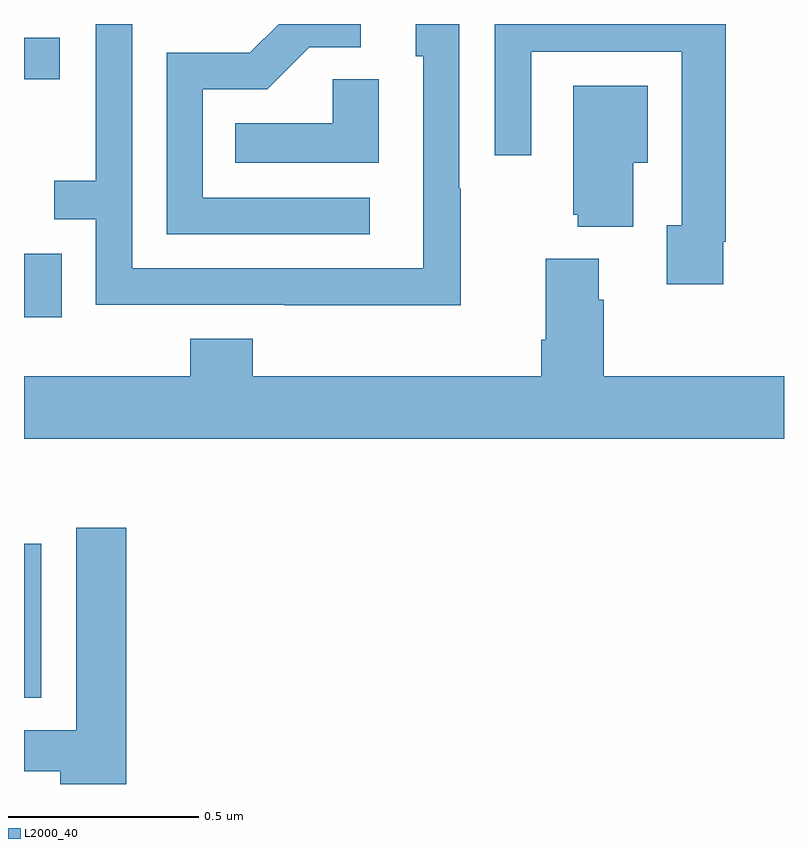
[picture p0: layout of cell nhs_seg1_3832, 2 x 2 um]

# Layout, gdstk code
import gdstk
lib = gdstk.Library(unit=1e-6, precision=1e-09)
def R(c, l, rs):  # rectangles x0, y0, x1, y1
    for r in rs: c.add(gdstk.rectangle(r[:2], r[2:], *l))
def P(c, l, *ps):  # polygons
    for p in ps: c.add(gdstk.Polygon(p, *l))
L2000_40 = (2000, 40)

nhs_seg1_3832 = lib.new_cell('nhs_seg1_3832')
R(nhs_seg1_3832, L2000_40, [(159,508.426,159.046,508.831), (159,509.427,159.099,509.595), (159,510.053,159.094,510.163)])
P(nhs_seg1_3832, L2000_40, [(159.91,509.742),(159.471,509.742),(159.471,510.027),(159.64,510.027),(159.751,510.138),(159.886,510.138),(159.886,510.199),(159.67,510.199),(159.594,510.123),(159.375,510.123),(159.375,509.646),(159.91,509.646)],
  [(160.149,509.765),(160.146,509.765),(160.146,510.199),(160.031,510.199),(160.031,510.114),(160.05,510.114),(160.05,509.556),(159.285,509.556),(159.285,510.199),(159.189,510.199),(159.189,509.786),(159.079,509.786),(159.079,509.685),(159.189,509.685),(159.189,509.46),(159.685,509.46),(159.685,509.459),(160.149,509.459)],
  [(160.84,509.626),(160.847,509.626),(160.847,510.199),(160.239,510.199),(160.239,509.853),(160.335,509.853),(160.335,510.126),(160.731,510.126),(160.731,509.67),(160.691,509.67),(160.691,509.514),(160.84,509.514)],
  [(159.934,510.053),(159.813,510.053),(159.813,509.938),(159.556,509.938),(159.556,509.834),(159.934,509.834)],
  [(160.603,509.834),(160.642,509.834),(160.642,510.037),(160.445,510.037),(160.445,509.697),(160.457,509.697),(160.457,509.666),(160.603,509.666)],
  [(161,509.272),(160.526,509.272),(160.526,509.474),(160.513,509.474),(160.513,509.581),(160.373,509.581),(160.373,509.368),(160.361,509.368),(160.361,509.272),(159.602,509.272),(159.602,509.371),(159.437,509.371),(159.437,509.272),(159,509.272),(159,509.108),(161,509.108)],
  [(159.269,508.873),(159.137,508.873),(159.137,508.341),(159,508.341),(159,508.233),(159.095,508.233),(159.095,508.199),(159.269,508.199)])

lib.write_gds('nhs_seg1_3832.gds')
